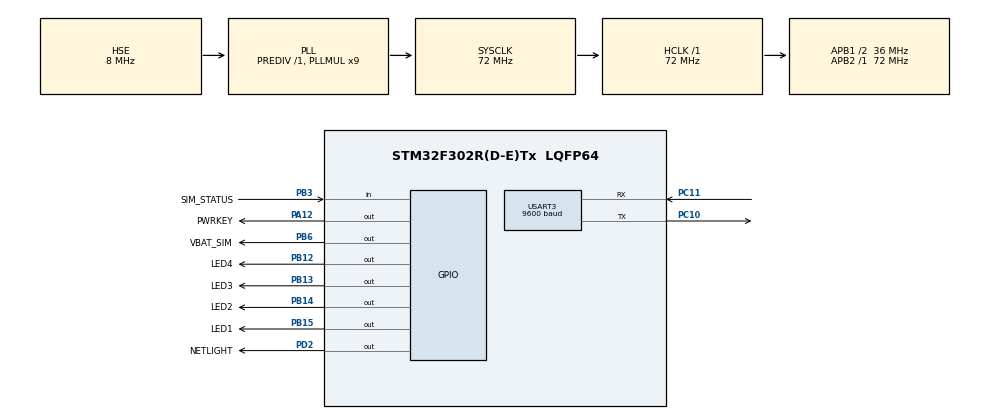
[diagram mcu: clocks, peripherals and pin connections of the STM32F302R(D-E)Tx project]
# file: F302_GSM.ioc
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Mcu.Family=STM32F3
Mcu.Name=STM32F302R(D-E)Tx
Mcu.Package=LQFP64
NVIC.PriorityGroup=NVIC_PRIORITYGROUP_4
NVIC.USART3_IRQn=true\:0\:0\:false\:false\:true\:true\:true
PA12.GPIO_Label=PWRKEY
PA12.Signal=GPIO_Output
PA13.Mode=Serial_Wire
PA13.Signal=SYS_JTMS-SWDIO
PA14.Mode=Serial_Wire
PA14.Signal=SYS_JTCK-SWCLK
PB12.GPIO_Label=LED4
PB12.Signal=GPIO_Output
PB13.GPIO_Label=LED3
PB13.Signal=GPIO_Output
PB14.GPIO_Label=LED2
PB14.Signal=GPIO_Output
PB15.GPIO_Label=LED1
PB15.Signal=GPIO_Output
PB3.GPIO_Label=SIM_STATUS
PB3.Signal=GPIO_Input
PB6.GPIO_Label=VBAT_SIM
PB6.PinState=GPIO_PIN_RESET
PB6.Signal=GPIO_Output
PC10.Mode=Asynchronous
PC10.Signal=USART3_TX
PC11.Mode=Asynchronous
PC11.Signal=USART3_RX
PD2.GPIO_Label=NETLIGHT
PD2.Signal=GPIO_Output
PF0-OSC_IN.Mode=HSE-External-Oscillator
PF0-OSC_IN.Signal=RCC_OSC_IN
PF1-OSC_OUT.Mode=HSE-External-Oscillator
PF1-OSC_OUT.Signal=RCC_OSC_OUT
ProjectManager.HeapSize=0x200
ProjectManager.StackSize=0x400
ProjectManager.TargetToolchain=MDK-ARM V5.27
RCC.AHBFreq_Value=72000000
RCC.APB1CLKDivider=RCC_HCLK_DIV2
RCC.APB1Freq_Value=36000000
RCC.APB1TimFreq_Value=72000000
RCC.APB2Freq_Value=72000000
RCC.APB2TimFreq_Value=72000000
RCC.CortexFreq_Value=72000000
RCC.HCLKFreq_Value=72000000
RCC.HSE_VALUE=8000000
RCC.HSI_VALUE=8000000
RCC.LSE_VALUE=32768
RCC.PLLMUL=RCC_PLL_MUL9
RCC.PLLSourceVirtual=RCC_PLLSOURCE_HSE
RCC.SYSCLKFreq_VALUE=72000000
RCC.SYSCLKSourceVirtual=RCC_SYSCLKSOURCE_PLLCLK
RCC.USBFreq_Value=72000000
USART3.BaudRate=9600
USART3.VirtualMode-Asynchronous=VM_ASYNC
board=custom

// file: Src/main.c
/* USER CODE BEGIN Header */
/**
  ******************************************************************************
  * @file           : main.c
  * @brief          : Main program body
  ******************************************************************************
  * @attention
  *
  * <h2><center>&copy; Copyright (c) 2020 STMicroelectronics.
  * All rights reserved.</center></h2>
  *
  * This software component is licensed by ST under BSD 3-Clause license,
  * the "License"; You may not use this file except in compliance with the
  * License. You may obtain a copy of the License at:
  *                        opensource.org/licenses/BSD-3-Clause
  *
  ******************************************************************************
  */
/* USER CODE END Header */

#include "main.h"

/* USER CODE BEGIN Includes */
#include "stdio.h"
#include "string.h"
/* USER CODE END Includes */

UART_HandleTypeDef huart3;

/* USER CODE BEGIN PV */
uint16_t time_s = 0;
uint16_t time_ms = 0;
uint8_t length = 0;
char* number = "0344383980";
char str[30];
uint8_t buffer_Rx[20];
uint8_t buffer_Real[15];
/* USER CODE END PV */

void SystemClock_Config(void);
static void MX_GPIO_Init(void);
static void MX_USART3_UART_Init(void);

/* USER CODE BEGIN 0 */

void Power_ON_SIM()
{
	HAL_Delay(10);
	HAL_GPIO_WritePin(PWRKEY_GPIO_Port,PWRKEY_Pin,1);
	HAL_Delay(1100);
	HAL_GPIO_WritePin(PWRKEY_GPIO_Port,PWRKEY_Pin,0);
	while(HAL_GPIO_ReadPin(SIM_STATUS_GPIO_Port,SIM_STATUS_Pin) == 0){};
}

//void Call_Start(char* number)
//{
////	HAL_UART_Transmit(&huart3,(uint8_t*)"atd",3,1000);
////	HAL_UART_Transmit(&huart3,number,strlen((char*)(number)),1000);
////	HAL_UART_Transmit(&huart3,(uint8_t*)";",1,1000);
////	HAL_UART_Transmit(&huart3,(uint8_t*)13,1,1000);
////	HAL_UART_Transmit(&huart3,(uint8_t*)10,1,1000);
//	char str[16];
//	sprintf(str,"ATD%s;\r",number);
//	HAL_UART_Transmit(&huart3,(uint8_t*)str,strlen(str),0xffff);
//
//}
void Call_Finish()
{
	HAL_UART_Transmit(&huart3,(uint8_t*)"ath",3,1000);
	HAL_UART_Transmit(&huart3,(uint8_t*)13,1,1000);
	HAL_UART_Transmit(&huart3,(uint8_t*)10,1,1000);
}
/* USER CODE END 0 */

int main(void)
{

  /* MCU Configuration--------------------------------------------------------*/

  /* Reset of all peripherals, Initializes the Flash interface and the Systick. */
  HAL_Init();

  /* Configure the system clock */
  SystemClock_Config();

  /* Initialize all configured peripherals */
  MX_GPIO_Init();
  MX_USART3_UART_Init();
  /* USER CODE BEGIN 2 */
	//HAL_Delay(5000);
	HAL_UART_Receive_IT(&huart3,buffer_Rx,20);

	HAL_GPIO_WritePin(VBAT_SIM_GPIO_Port,VBAT_SIM_Pin,1);
	Power_ON_SIM();

	sprintf(str,"atd%s;%c%c",number,13,10);
	length = strlen(str);
	HAL_UART_Transmit(&huart3,(uint8_t*)str,strlen(str),100);

	//Call_Start("0344383980");
  /* USER CODE END 2 */

  /* Infinite loop */
  while (1)
  {

  }
}

void SystemClock_Config(void)
{
  RCC_OscInitTypeDef RCC_OscInitStruct = {0};
  RCC_ClkInitTypeDef RCC_ClkInitStruct = {0};
  RCC_PeriphCLKInitTypeDef PeriphClkInit = {0};

  /** Initializes the CPU, AHB and APB busses clocks
  */
  RCC_OscInitStruct.OscillatorType = RCC_OSCILLATORTYPE_HSE;
  RCC_OscInitStruct.HSEState = RCC_HSE_ON;
  RCC_OscInitStruct.HSIState = RCC_HSI_ON;
  RCC_OscInitStruct.PLL.PLLState = RCC_PLL_ON;
  RCC_OscInitStruct.PLL.PLLSource = RCC_PLLSOURCE_HSE;
  RCC_OscInitStruct.PLL.PLLMUL = RCC_PLL_MUL9;
  RCC_OscInitStruct.PLL.PREDIV = RCC_PREDIV_DIV1;
  if (HAL_RCC_OscConfig(&RCC_OscInitStruct) != HAL_OK)
  {
    Error_Handler();
  }
  /** Initializes the CPU, AHB and APB busses clocks
  */
  RCC_ClkInitStruct.ClockType = RCC_CLOCKTYPE_HCLK|RCC_CLOCKTYPE_SYSCLK
                              |RCC_CLOCKTYPE_PCLK1|RCC_CLOCKTYPE_PCLK2;
  RCC_ClkInitStruct.SYSCLKSource = RCC_SYSCLKSOURCE_PLLCLK;
  RCC_ClkInitStruct.AHBCLKDivider = RCC_SYSCLK_DIV1;
  RCC_ClkInitStruct.APB1CLKDivider = RCC_HCLK_DIV2;
  RCC_ClkInitStruct.APB2CLKDivider = RCC_HCLK_DIV1;

  if (HAL_RCC_ClockConfig(&RCC_ClkInitStruct, FLASH_LATENCY_2) != HAL_OK)
  {
    Error_Handler();
  }
  PeriphClkInit.PeriphClockSelection = RCC_PERIPHCLK_USART3;
  PeriphClkInit.Usart3ClockSelection = RCC_USART3CLKSOURCE_PCLK1;
  if (HAL_RCCEx_PeriphCLKConfig(&PeriphClkInit) != HAL_OK)
  {
    Error_Handler();
  }
}

static void MX_USART3_UART_Init(void)
{

  huart3.Instance = USART3;
  huart3.Init.BaudRate = 9600;
  huart3.Init.WordLength = UART_WORDLENGTH_8B;
  huart3.Init.StopBits = UART_STOPBITS_1;
  huart3.Init.Parity = UART_PARITY_NONE;
  huart3.Init.Mode = UART_MODE_TX_RX;
  huart3.Init.HwFlowCtl = UART_HWCONTROL_NONE;
  huart3.Init.OverSampling = UART_OVERSAMPLING_16;
  huart3.Init.OneBitSampling = UART_ONE_BIT_SAMPLE_DISABLE;
  huart3.AdvancedInit.AdvFeatureInit = UART_ADVFEATURE_NO_INIT;
  if (HAL_UART_Init(&huart3) != HAL_OK)
  {
    Error_Handler();
  }

}

static void MX_GPIO_Init(void)
{
  GPIO_InitTypeDef GPIO_InitStruct = {0};

  /* GPIO Ports Clock Enable */
  __HAL_RCC_GPIOF_CLK_ENABLE();
  __HAL_RCC_GPIOB_CLK_ENABLE();
  __HAL_RCC_GPIOA_CLK_ENABLE();
  __HAL_RCC_GPIOC_CLK_ENABLE();
  __HAL_RCC_GPIOD_CLK_ENABLE();

  /*Configure GPIO pin Output Level */
  HAL_GPIO_WritePin(GPIOB, LED4_Pin|LED3_Pin|LED2_Pin|LED1_Pin
                          |VBAT_SIM_Pin, GPIO_PIN_RESET);

  /*Configure GPIO pin Output Level */
  HAL_GPIO_WritePin(PWRKEY_GPIO_Port, PWRKEY_Pin, GPIO_PIN_RESET);

  /*Configure GPIO pin Output Level */
  HAL_GPIO_WritePin(NETLIGHT_GPIO_Port, NETLIGHT_Pin, GPIO_PIN_RESET);

  /*Configure GPIO pins : LED4_Pin LED3_Pin LED2_Pin LED1_Pin
                           VBAT_SIM_Pin */
  GPIO_InitStruct.Pin = LED4_Pin|LED3_Pin|LED2_Pin|LED1_Pin
                          |VBAT_SIM_Pin;
  GPIO_InitStruct.Mode = GPIO_MODE_OUTPUT_PP;
  GPIO_InitStruct.Pull = GPIO_NOPULL;
  GPIO_InitStruct.Speed = GPIO_SPEED_FREQ_LOW;
  HAL_GPIO_Init(GPIOB, &GPIO_InitStruct);

  /*Configure GPIO pin : PWRKEY_Pin */
  GPIO_InitStruct.Pin = PWRKEY_Pin;
  GPIO_InitStruct.Mode = GPIO_MODE_OUTPUT_PP;
  GPIO_InitStruct.Pull = GPIO_NOPULL;
  GPIO_InitStruct.Speed = GPIO_SPEED_FREQ_LOW;
  HAL_GPIO_Init(PWRKEY_GPIO_Port, &GPIO_InitStruct);

  /*Configure GPIO pin : NETLIGHT_Pin */
  GPIO_InitStruct.Pin = NETLIGHT_Pin;
  GPIO_InitStruct.Mode = GPIO_MODE_OUTPUT_PP;
  GPIO_InitStruct.Pull = GPIO_NOPULL;
  GPIO_InitStruct.Speed = GPIO_SPEED_FREQ_LOW;
  HAL_GPIO_Init(NETLIGHT_GPIO_Port, &GPIO_InitStruct);

  /*Configure GPIO pin : SIM_STATUS_Pin */
  GPIO_InitStruct.Pin = SIM_STATUS_Pin;
  GPIO_InitStruct.Mode = GPIO_MODE_INPUT;
  GPIO_InitStruct.Pull = GPIO_NOPULL;
  HAL_GPIO_Init(SIM_STATUS_GPIO_Port, &GPIO_InitStruct);

}

/* USER CODE BEGIN 4 */
void HAL_UART_RxCpltCallback(UART_HandleTypeDef *huart)
{
	if(huart->Instance == USART3)
	{
		for(int i = 0 ; i < 15 ; i++)
		{
			buffer_Real[i] = buffer_Rx[i];
		}
		for(int i = 0 ; i < 20 ; i++)
		{
			buffer_Rx[i] = 0;
		}
		HAL_UART_Receive_IT(&huart3,buffer_Rx,20);
	}
}

void HAL_SYSTICK_Callback()
{
	time_ms++;
	if(time_ms == 1000)
	{
		time_ms = 0;
		time_s++;
	}
}

/* USER CODE END 4 */

void Error_Handler(void)
{
}

/************************ (C) COPYRIGHT STMicroelectronics *****END OF FILE****/
